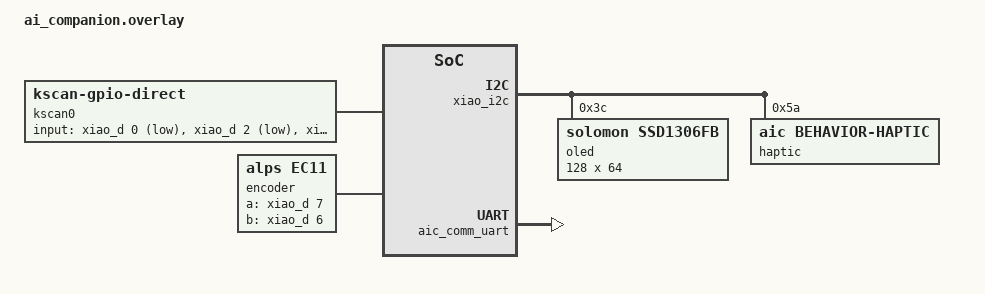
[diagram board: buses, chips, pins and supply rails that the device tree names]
/*
 * Copyright (c) 2026 The AI Companion Contributors
 * SPDX-License-Identifier: MIT
 *
 * ai_companion shield for the Seeed XIAO nRF52840 (seeed_xiao interconnect).
 * Phase 3: 4 push buttons + EC11 rotary encoder (rotation only).
 *
 * Mounting: the XIAO plugs into the Seeed XIAO Expansion Board so its on-board
 * 0.96" OLED (I2C, D4/D5) can be used. That board pre-commits several pins on its
 * own PCB (verified from the Seeed wiki source):
 *   D1 = on-board user button, D2 = microSD CS, D3/A3 = passive buzzer,
 *   D4/D5 = I2C (OLED + RTC), D8/D9/D10 = microSD SPI (SCK/MISO/MOSI).
 * We use no SD card and no buzzer, so the SD lines are free to reuse; D1 and D3
 * are avoided.
 *
 * Pin allocation (XIAO digital pins, referenced as `&xiao_d N` = XIAO pin DN):
 *   D0  Voice button   (Grove A0/D0)     direct GPIO, active-low, internal pull-up
 *   D2  Yes   button   (SD CS, unused)   direct GPIO, active-low, internal pull-up
 *   D9  No    button   (SD MISO, unused) direct GPIO, active-low, internal pull-up
 *   D10 Open  button   (SD MOSI, unused) direct GPIO, active-low, internal pull-up
 *   D7  Encoder A / SIGA (Grove UART)    EC11
 *   D6  Encoder B / SIGB (Grove UART)    EC11
 *   D4/D5 I2C (Grove IIC): OLED SSD1306 (on-board) + DRV2605L haptic - Phase 4
 *   D1  avoided (on-board user button), D3 avoided (buzzer), D8 spare (SD SCK)
 *
 * Encoder: the user's module is a 4-pin breakout (SIGA/SIGB/VCC/GND) with the
 * push switch NOT routed to the header, so only rotation is used. VCC -> 3V3
 * (module pulls SIGA/SIGB up to VCC with on-board 3.3k, so it must be 3V3, not
 * 5V, to stay within the nRF's 3.3V logic level).
 *
 * Buttons wire between the listed pin and GND; the internal pull-up means no
 * external resistor is required. The EC11 A/B pins also use internal pull-ups
 * (in parallel with the module's 3.3k), so an *unconnected* encoder reads a
 * stable high level and produces no spurious events (safe to build before the
 * encoder hardware is fitted).
 */

#include <dt-bindings/zmk/matrix_transform.h>

/ {
    chosen {
        zmk,kscan = &kscan0;
        zmk,matrix-transform = &default_transform;
        zephyr,display = &oled;   // Phase 4: on-board SSD1306 OLED
    };

    default_transform: keymap_transform_0 {
        compatible = "zmk,matrix-transform";
        columns = <4>;
        rows = <1>;
        //        Voice   Yes     No      Open
        map = < RC(0,0) RC(0,1) RC(0,2) RC(0,3) >;
    };

    kscan0: kscan_0 {
        compatible = "zmk,kscan-gpio-direct";
        wakeup-source;
        debounce-press-ms = <5>;
        debounce-release-ms = <5>;
        input-gpios
            = <&xiao_d 0  (GPIO_ACTIVE_LOW | GPIO_PULL_UP)>   // Voice
            , <&xiao_d 2  (GPIO_ACTIVE_LOW | GPIO_PULL_UP)>   // Yes
            , <&xiao_d 9  (GPIO_ACTIVE_LOW | GPIO_PULL_UP)>   // No
            , <&xiao_d 10 (GPIO_ACTIVE_LOW | GPIO_PULL_UP)>   // Open
            ;
    };

    encoder: encoder {
        compatible = "alps,ec11";
        a-gpios = <&xiao_d 7 (GPIO_ACTIVE_HIGH | GPIO_PULL_UP)>;
        b-gpios = <&xiao_d 6 (GPIO_ACTIVE_HIGH | GPIO_PULL_UP)>;
        steps = <80>;
        status = "okay";
    };

    sensors: sensors {
        compatible = "zmk,keymap-sensors";
        sensors = <&encoder>;
        triggers-per-rotation = <20>;
    };
};

/*
 * Phase 4 — on-board OLED (Seeed XIAO Expansion Board, SSD1306 128x64 @ 0x3C).
 *
 * The expansion board hard-wires the OLED to the XIAO's I2C bus (D4=SDA/D5=SCL).
 * `&xiao_i2c` is the seeed_xiao interconnect label for that bus (= &i2c0 on the
 * seeeduino_xiao_ble board; pinctrl maps TWIM_SDA=P0.04/D4, TWIM_SCL=P0.05/D5).
 *
 * Node modelled verbatim on the ZMK v0.3 128x64 reference shield
 * (app/boards/shields/kyria/kyria_common.dtsi): compatible "solomon,ssd1306fb",
 * multiplex-ratio 63 for 128x64. All five SSD1306-required props
 * (segment-offset/page-offset/display-offset/multiplex-ratio/prechargep) plus
 * width/height/reg are present, as the binding requires.
 */
&xiao_i2c {
    status = "okay";

    oled: ssd1306@3c {
        compatible = "solomon,ssd1306fb";
        reg = <0x3c>;
        width = <128>;
        height = <64>;
        segment-offset = <0>;
        page-offset = <0>;
        display-offset = <0>;
        multiplex-ratio = <63>;
        prechargep = <0x22>;
        inversion-on;
    };

    /*
     * DRV2605L haptic driver (Adafruit-design breakout @ 0x5a on the same I2C
     * bus as the OLED; addresses 0x3c vs 0x5a do not clash). This node is BOTH
     * the I2C device and the custom `aic,behavior-haptic` ZMK behavior, so the
     * keymap can reference `&haptic` to fire a buzz. There is no Zephyr DRV2605
     * driver; our behavior does raw I2C writes (see src/behavior_haptic.c).
     * Wiring: VIN->3V3, GND->GND, SDA->D4, SCL->D5, OUT+/OUT- -> ERM motor.
     */
    haptic: drv2605@5a {
        compatible = "aic,behavior-haptic";
        reg = <0x5a>;
        #binding-cells = <0>;
    };
};

/*
 * Phase 5 — USB CDC-ACM data channel (host <-> device, newline-delimited JSON).
 *
 * This adds a SECOND USB function (a virtual serial port) alongside the HID
 * keyboard/mouse the device already exposes, forming a composite USB device.
 * That HID + CDC-ACM coexistence is a supported ZMK pattern: ZMK Studio uses the
 * exact same construct for its RPC link (app/snippets/studio-rpc-usb-uart/
 * studio-rpc-usb-uart.overlay), and so does USB logging. On the Mac the port
 * shows up as /dev/tty.usbmodem*; the host writes `screen`/`haptic`/`tasks`/
 * `ping` JSON lines and reads back `input`/`hello`/`pong` (see
 * docs/phase5-interface-contract.md).
 *
 * `zephyr_udc0` is the nRF52840 USB device-controller label (from the Nordic
 * SoC devicetree); the same label ZMK's own USB HID binds to. `aic,comm-uart`
 * is our chosen alias so src/aic_comm.c can grab this specific CDC instance via
 * DT_CHOSEN(aic_comm_uart) without hard-coding a node name.
 */
&zephyr_udc0 {
    aic_comm_uart: aic_comm_uart {
        compatible = "zephyr,cdc-acm-uart";
    };
};

/ {
    chosen {
        aic,comm-uart = &aic_comm_uart;
    };
};
